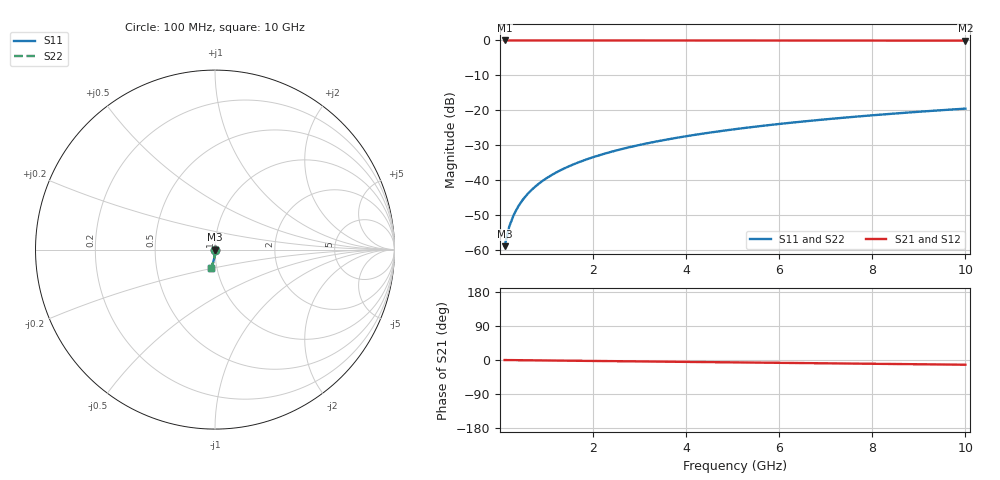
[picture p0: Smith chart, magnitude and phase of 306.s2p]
# Hz S RI R 50.00
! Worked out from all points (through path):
!   100 points, 100 MHz to 10 GHz, reference 50 ohm
!   highest |S21| = 0.00 dB at 100 MHz (marker M1); lowest = -0.1 dB at 10 GHz (marker M2)
!   group delay of S21, straight-line fit = 3.46 ps
!   lowest |S11| = -59.0 dB at 100 MHz (marker M3), VSWR 1.00, Z = 50 - j0.106 ohm
!   |S11| at or under -10 dB: start of sweep to end of sweep
!   |S22| runs from -59.0 to -19.6 dB; largest |S21 - S12| = 0
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1e8  0.000374 -0.00106  0.9996 -0.00217  0.9996 -0.00217  0.000374 -0.00106
2e8  0.000368 -0.00212  0.9996 -0.00434  0.9996 -0.00434  0.000368 -0.00212
3e8  0.000357 -0.00317  0.9996 -0.00651  0.9996 -0.00651  0.000357 -0.00317
4e8  0.000341 -0.00423  0.9996 -0.00867  0.9996 -0.00867  0.000341 -0.00423
5e8  0.00032 -0.00529  0.9995 -0.0108  0.9995 -0.0108  0.00032 -0.00529
6e8  0.000295 -0.00635  0.9995 -0.013  0.9995 -0.013  0.000295 -0.00635
7e8  0.000264 -0.00741  0.9995 -0.0152  0.9995 -0.0152  0.000264 -0.00741
8e8  0.000229 -0.00846  0.9994 -0.0173  0.9994 -0.0173  0.000229 -0.00846
9e8  0.00019 -0.00952  0.9994 -0.0195  0.9994 -0.0195  0.00019 -0.00952
1.1e9  9.66e-05 -0.0116  0.9992 -0.0239  0.9992 -0.0239  9.66e-05 -0.0116
1.4e9  -7.79e-05 -0.0148  0.999 -0.0304  0.999 -0.0304  -7.79e-05 -0.0148
1.8e9  -0.000375 -0.019  0.9986 -0.039  0.9986 -0.039  -0.000375 -0.019
2.1e9  -0.000647 -0.0222  0.9983 -0.0455  0.9983 -0.0455  -0.000647 -0.0222
2.5e9  -0.00107 -0.0264  0.9977 -0.0542  0.9977 -0.0542  -0.00107 -0.0264
2.9e9  -0.00157 -0.0306  0.9971 -0.0629  0.9971 -0.0629  -0.00157 -0.0306
3.4e9  -0.0023 -0.0359  0.9962 -0.0737  0.9962 -0.0737  -0.0023 -0.0359
4.2e9  -0.0037 -0.0443  0.9944 -0.091  0.9944 -0.091  -0.0037 -0.0443
5.1e9  -0.00563 -0.0536  0.9919 -0.1104  0.9919 -0.1104  -0.00563 -0.0536
5.9e9  -0.00765 -0.0619  0.9894 -0.1276  0.9894 -0.1276  -0.00765 -0.0619
6.7e9  -0.00996 -0.0701  0.9864 -0.1447  0.9864 -0.1447  -0.00996 -0.0701
8.4e9  -0.0158 -0.0872  0.9789 -0.1808  0.9789 -0.1808  -0.0158 -0.0872
1e10  -0.0224 -0.1029  0.9704 -0.2145  0.9704 -0.2145  -0.0224 -0.1029
